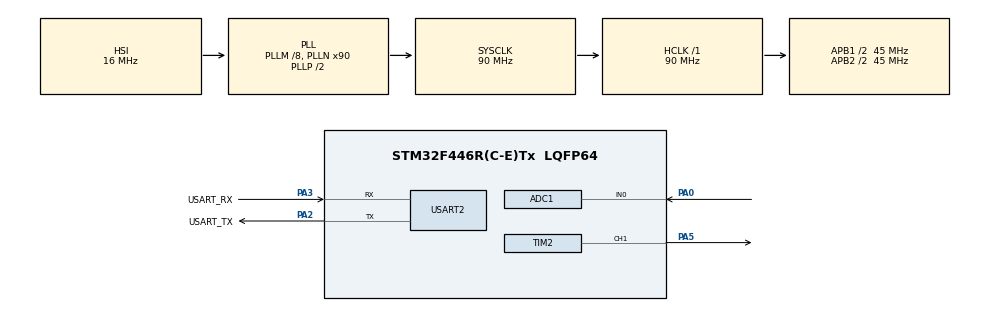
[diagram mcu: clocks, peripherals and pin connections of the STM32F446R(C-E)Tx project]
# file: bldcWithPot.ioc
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ADC1.Channel-0\#ChannelRegularConversion=ADC_CHANNEL_0
ADC1.ContinuousConvMode=ENABLE
ADC1.DMAContinuousRequests=ENABLE
ADC1.NbrOfConversionFlag=1
ADC1.Rank-0\#ChannelRegularConversion=1
ADC1.SamplingTime-0\#ChannelRegularConversion=ADC_SAMPLETIME_112CYCLES
ADC1.master=1
Dma.ADC1.0.Direction=DMA_PERIPH_TO_MEMORY
Dma.ADC1.0.FIFOMode=DMA_FIFOMODE_DISABLE
Dma.ADC1.0.Instance=DMA2_Stream0
Dma.ADC1.0.MemDataAlignment=DMA_MDATAALIGN_HALFWORD
Dma.ADC1.0.MemInc=DMA_MINC_ENABLE
Dma.ADC1.0.Mode=DMA_CIRCULAR
Dma.ADC1.0.PeriphDataAlignment=DMA_PDATAALIGN_HALFWORD
Dma.ADC1.0.PeriphInc=DMA_PINC_DISABLE
Dma.ADC1.0.Priority=DMA_PRIORITY_LOW
Dma.Request0=ADC1
Mcu.Family=STM32F4
Mcu.Name=STM32F446R(C-E)Tx
Mcu.Package=LQFP64
NVIC.DMA2_Stream0_IRQn=true\:0\:0\:false\:false\:true\:false\:true\:true
NVIC.PriorityGroup=NVIC_PRIORITYGROUP_0
PA0-WKUP.Signal=ADCx_IN0
PA13.GPIO_Label=TMS
PA13.Mode=Serial_Wire
PA13.Signal=SYS_JTMS-SWDIO
PA14.GPIO_Label=TCK
PA14.Mode=Serial_Wire
PA14.Signal=SYS_JTCK-SWCLK
PA2.GPIO_Label=USART_TX
PA2.Mode=Asynchronous
PA2.Signal=USART2_TX
PA3.GPIO_Label=USART_RX
PA3.Mode=Asynchronous
PA3.Signal=USART2_RX
PA5.Signal=S_TIM2_CH1_ETR
PB3.GPIO_Label=SWO
PB3.Signal=SYS_JTDO-SWO
PC14-OSC32_IN.Signal=RCC_OSC32_IN
PC15-OSC32_OUT.Signal=RCC_OSC32_OUT
PH0-OSC_IN.Mode=HSE-External-Oscillator
PH0-OSC_IN.Signal=RCC_OSC_IN
PH1-OSC_OUT.Mode=HSE-External-Oscillator
PH1-OSC_OUT.Signal=RCC_OSC_OUT
ProjectManager.HeapSize=0x200
ProjectManager.StackSize=0x400
ProjectManager.TargetToolchain=STM32CubeIDE
RCC.AHBFreq_Value=90000000
RCC.APB1CLKDivider=RCC_HCLK_DIV2
RCC.APB1Freq_Value=45000000
RCC.APB1TimFreq_Value=90000000
RCC.APB2CLKDivider=RCC_HCLK_DIV2
RCC.APB2Freq_Value=45000000
RCC.APB2TimFreq_Value=90000000
RCC.CortexFreq_Value=90000000
RCC.FLatency-AdvancedSettings=FLASH_LATENCY_2
RCC.HCLKFreq_Value=90000000
RCC.HSE_VALUE=8000000
RCC.HSI_VALUE=16000000
RCC.LSE_VALUE=32768
RCC.PLLM=8
RCC.PLLN=90
RCC.SYSCLKFreq_VALUE=90000000
RCC.SYSCLKSource=RCC_SYSCLKSOURCE_PLLCLK
RCC.USBFreq_Value=90000000
RCC.VCOOutputFreq_Value=180000000
SH.ADCx_IN0.0=ADC1_IN0,IN0
SH.S_TIM2_CH1_ETR.0=TIM2_CH1,PWM Generation1 CH1
TIM2.Period=1000-1
TIM2.Prescaler=1800-1
USART2.VirtualMode=VM_ASYNC
VP_TIM2_VS_ClockSourceINT.Mode=Internal
board=NUCLEO-F446RE

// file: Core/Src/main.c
/* USER CODE BEGIN Header */
/**
  ******************************************************************************
  * @file           : main.c
  * @brief          : Main program body
  ******************************************************************************
  * @attention
  *
  * Copyright (c) 2023 STMicroelectronics.
  * All rights reserved.
  *
  * This software is licensed under terms that can be found in the LICENSE file
  * in the root directory of this software component.
  * If no LICENSE file comes with this software, it is provided AS-IS.
  *
  ******************************************************************************
  */
/* USER CODE END Header */
#include "main.h"

/* USER CODE BEGIN Includes */
#include "string.h"
#include <stdio.h>
/* USER CODE END Includes */

ADC_HandleTypeDef hadc1;
DMA_HandleTypeDef hdma_adc1;

TIM_HandleTypeDef htim2;

UART_HandleTypeDef huart2;

void SystemClock_Config(void);
static void MX_GPIO_Init(void);
static void MX_DMA_Init(void);
static void MX_ADC1_Init(void);
static void MX_USART2_UART_Init(void);
static void MX_TIM2_Init(void);

/* USER CODE BEGIN 0 */

uint16_t adc_buff = 0;
int converted= 0;
#define  CALIB 1

uint8_t msg[100];

long map(long x, long inp_min, long inp_max, long out_min, long out_max)
{
	return (x-inp_min)*(out_max-out_min+1)/(inp_max-inp_min+1)+out_min;
}

void HAL_ADC_ConvCpltCallback(ADC_HandleTypeDef* hadc)
{
	//converted = map(adc_buff, 0, 4096, 35, 115);
	converted = map(adc_buff, 0, 4096, 35, 75);

	htim2.Instance->CCR1 = converted;

	sprintf((char*)msg, "Data: %d\r\n", converted);
	HAL_UART_Transmit(&huart2, msg, strlen((char*)msg), 100);
}
/* USER CODE END 0 */

int main(void)
{

  /* MCU Configuration--------------------------------------------------------*/

  /* Reset of all peripherals, Initializes the Flash interface and the Systick. */
  HAL_Init();

  /* Configure the system clock */
  SystemClock_Config();

  /* Initialize all configured peripherals */
  MX_GPIO_Init();
  MX_DMA_Init();
  MX_ADC1_Init();
  MX_USART2_UART_Init();
  MX_TIM2_Init();
  /* USER CODE BEGIN 2 */
  HAL_TIM_PWM_Start(&htim2, TIM_CHANNEL_1);
#if CALIB
  htim2.Instance->CCR1 = 150;
  HAL_Delay(2000); //wait for one beep
  htim2.Instance->CCR1 = 75;
  HAL_Delay(1000); //wait fir 2beeps
  htim2.Instance->CCR1 = 0;
#endif

  HAL_ADC_Start_DMA(&hadc1, (uint32_t*)&adc_buff, 1);
  /* USER CODE END 2 */

  /* Infinite loop */
  while (1)
  {

    /* USER CODE BEGIN 3 */

//	sprintf((char*)msg, "Value: %hu\r\n",raw);
//	HAL_UART_Transmit(&huart2, msg, strlen((char*)msg), HAL_MAX_DELAY);

  }
  /* USER CODE END 3 */
}

void SystemClock_Config(void)
{
  RCC_OscInitTypeDef RCC_OscInitStruct = {0};
  RCC_ClkInitTypeDef RCC_ClkInitStruct = {0};

  /** Configure the main internal regulator output voltage
  */
  __HAL_RCC_PWR_CLK_ENABLE();
  __HAL_PWR_VOLTAGESCALING_CONFIG(PWR_REGULATOR_VOLTAGE_SCALE3);

  /** Initializes the RCC Oscillators according to the specified parameters
  * in the RCC_OscInitTypeDef structure.
  */
  RCC_OscInitStruct.OscillatorType = RCC_OSCILLATORTYPE_HSI;
  RCC_OscInitStruct.HSIState = RCC_HSI_ON;
  RCC_OscInitStruct.HSICalibrationValue = RCC_HSICALIBRATION_DEFAULT;
  RCC_OscInitStruct.PLL.PLLState = RCC_PLL_ON;
  RCC_OscInitStruct.PLL.PLLSource = RCC_PLLSOURCE_HSI;
  RCC_OscInitStruct.PLL.PLLM = 8;
  RCC_OscInitStruct.PLL.PLLN = 90;
  RCC_OscInitStruct.PLL.PLLP = RCC_PLLP_DIV2;
  RCC_OscInitStruct.PLL.PLLQ = 2;
  RCC_OscInitStruct.PLL.PLLR = 2;
  if (HAL_RCC_OscConfig(&RCC_OscInitStruct) != HAL_OK)
  {
    Error_Handler();
  }

  /** Initializes the CPU, AHB and APB buses clocks
  */
  RCC_ClkInitStruct.ClockType = RCC_CLOCKTYPE_HCLK|RCC_CLOCKTYPE_SYSCLK
                              |RCC_CLOCKTYPE_PCLK1|RCC_CLOCKTYPE_PCLK2;
  RCC_ClkInitStruct.SYSCLKSource = RCC_SYSCLKSOURCE_PLLCLK;
  RCC_ClkInitStruct.AHBCLKDivider = RCC_SYSCLK_DIV1;
  RCC_ClkInitStruct.APB1CLKDivider = RCC_HCLK_DIV2;
  RCC_ClkInitStruct.APB2CLKDivider = RCC_HCLK_DIV2;

  if (HAL_RCC_ClockConfig(&RCC_ClkInitStruct, FLASH_LATENCY_2) != HAL_OK)
  {
    Error_Handler();
  }
}

static void MX_ADC1_Init(void)
{

  ADC_ChannelConfTypeDef sConfig = {0};

  /** Configure the global features of the ADC (Clock, Resolution, Data Alignment and number of conversion)
  */
  hadc1.Instance = ADC1;
  hadc1.Init.ClockPrescaler = ADC_CLOCK_SYNC_PCLK_DIV2;
  hadc1.Init.Resolution = ADC_RESOLUTION_12B;
  hadc1.Init.ScanConvMode = DISABLE;
  hadc1.Init.ContinuousConvMode = ENABLE;
  hadc1.Init.DiscontinuousConvMode = DISABLE;
  hadc1.Init.ExternalTrigConvEdge = ADC_EXTERNALTRIGCONVEDGE_NONE;
  hadc1.Init.ExternalTrigConv = ADC_SOFTWARE_START;
  hadc1.Init.DataAlign = ADC_DATAALIGN_RIGHT;
  hadc1.Init.NbrOfConversion = 1;
  hadc1.Init.DMAContinuousRequests = ENABLE;
  hadc1.Init.EOCSelection = ADC_EOC_SINGLE_CONV;
  if (HAL_ADC_Init(&hadc1) != HAL_OK)
  {
    Error_Handler();
  }

  /** Configure for the selected ADC regular channel its corresponding rank in the sequencer and its sample time.
  */
  sConfig.Channel = ADC_CHANNEL_0;
  sConfig.Rank = 1;
  sConfig.SamplingTime = ADC_SAMPLETIME_112CYCLES;
  if (HAL_ADC_ConfigChannel(&hadc1, &sConfig) != HAL_OK)
  {
    Error_Handler();
  }

}

static void MX_TIM2_Init(void)
{

  TIM_ClockConfigTypeDef sClockSourceConfig = {0};
  TIM_MasterConfigTypeDef sMasterConfig = {0};
  TIM_OC_InitTypeDef sConfigOC = {0};

  htim2.Instance = TIM2;
  htim2.Init.Prescaler = 1800-1;
  htim2.Init.CounterMode = TIM_COUNTERMODE_UP;
  htim2.Init.Period = 1000-1;
  htim2.Init.ClockDivision = TIM_CLOCKDIVISION_DIV1;
  htim2.Init.AutoReloadPreload = TIM_AUTORELOAD_PRELOAD_DISABLE;
  if (HAL_TIM_Base_Init(&htim2) != HAL_OK)
  {
    Error_Handler();
  }
  sClockSourceConfig.ClockSource = TIM_CLOCKSOURCE_INTERNAL;
  if (HAL_TIM_ConfigClockSource(&htim2, &sClockSourceConfig) != HAL_OK)
  {
    Error_Handler();
  }
  if (HAL_TIM_PWM_Init(&htim2) != HAL_OK)
  {
    Error_Handler();
  }
  sMasterConfig.MasterOutputTrigger = TIM_TRGO_RESET;
  sMasterConfig.MasterSlaveMode = TIM_MASTERSLAVEMODE_DISABLE;
  if (HAL_TIMEx_MasterConfigSynchronization(&htim2, &sMasterConfig) != HAL_OK)
  {
    Error_Handler();
  }
  sConfigOC.OCMode = TIM_OCMODE_PWM1;
  sConfigOC.Pulse = 0;
  sConfigOC.OCPolarity = TIM_OCPOLARITY_HIGH;
  sConfigOC.OCFastMode = TIM_OCFAST_DISABLE;
  if (HAL_TIM_PWM_ConfigChannel(&htim2, &sConfigOC, TIM_CHANNEL_1) != HAL_OK)
  {
    Error_Handler();
  }
  HAL_TIM_MspPostInit(&htim2);

}

static void MX_USART2_UART_Init(void)
{

  huart2.Instance = USART2;
  huart2.Init.BaudRate = 115200;
  huart2.Init.WordLength = UART_WORDLENGTH_8B;
  huart2.Init.StopBits = UART_STOPBITS_1;
  huart2.Init.Parity = UART_PARITY_NONE;
  huart2.Init.Mode = UART_MODE_TX_RX;
  huart2.Init.HwFlowCtl = UART_HWCONTROL_NONE;
  huart2.Init.OverSampling = UART_OVERSAMPLING_16;
  if (HAL_UART_Init(&huart2) != HAL_OK)
  {
    Error_Handler();
  }

}

static void MX_DMA_Init(void)
{

  /* DMA controller clock enable */
  __HAL_RCC_DMA2_CLK_ENABLE();

  /* DMA interrupt init */
  /* DMA2_Stream0_IRQn interrupt configuration */
  HAL_NVIC_SetPriority(DMA2_Stream0_IRQn, 0, 0);
  HAL_NVIC_EnableIRQ(DMA2_Stream0_IRQn);

}

static void MX_GPIO_Init(void)
{

  /* GPIO Ports Clock Enable */
  __HAL_RCC_GPIOC_CLK_ENABLE();
  __HAL_RCC_GPIOH_CLK_ENABLE();
  __HAL_RCC_GPIOA_CLK_ENABLE();
  __HAL_RCC_GPIOB_CLK_ENABLE();

}

void Error_Handler(void)
{
  __disable_irq();
  while (1)
  {
  }
}
